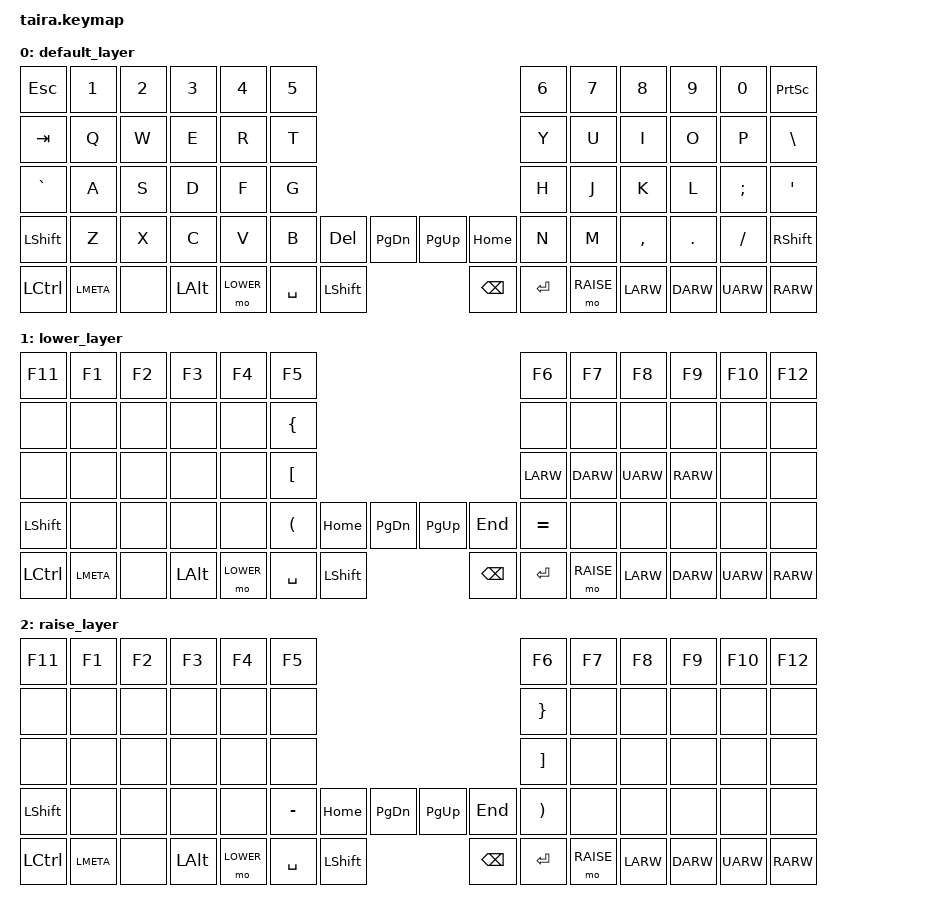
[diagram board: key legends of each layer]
/*
 * Copyright (c) 2020 The ZMK Contributors
 *
 * SPDX-License-Identifier: MIT
 */

#include <behaviors.dtsi>
#include <dt-bindings/zmk/keys.h>
#include <dt-bindings/zmk/outputs.h>
#include <dt-bindings/zmk/bt.h>

#define DEFAULT 0
#define LOWER   1
#define RAISE   2


/ {
        keymap {
                compatible = "zmk,keymap";

                default_layer {
/* QWERTY
 * .-------------------------------------------------------------------------------------------------------------------------------------.
 * |  ESC |   1  |   2  |   3  |   4  |   5  |                                                 |   6  |   7  |   8  |   9  |   0  | PScr |
 * |------+------+------+------+------+------+-------------------------------------------------+------+-------------+------+------+------|
 * | Tab  |   Q  |   W  |   E  |   R  |   T  |                                                 |   Y  |   U  |   I  |   O  |   P  |  \   |
 * |------+------+------+------+------+------+-------------------------------------------------+------+------+------+------+------+------|
 * |   `  |   A  |   S  |   D  |   F  |   G  |                                                 |   H  |   J  |   K  |   L  |   ;  |  '   |
 * |------+------+------+------+------+------+-------+-------+-------+-+-------+-------+-------+------+------+------+------+------+------|
 * | Shift|   Z  |   X  |   C  |   V  |   B  |       |  DEL  | PG_DN | | PG_UP | HOME  |       |   N  |   M  |   ,  |   .  |   /  | Shift|
 * |-------------+------+------+------+------+-------+-------+-------+-+-------+-------+-------+------+------+------+------+------+------|
 * | Ctrl | Win  |*free*| Alt  |      |      | Lower | Space | Shift | |  Bksp | Enter | Raise |             | LARW | DARW | UARW | RARW |
 * .-------------------------------------------------------------------------------------------------------------------------------------.
 */
                        bindings = <
&kp  ESC      &kp  N1       &kp  N2       &kp  N3       &kp  N4       &kp  N5                                                                                                       &kp  N6       &kp  N7       &kp  N8       &kp  N9       &kp  N0       &kp  PSCRN
&kp  TAB      &kp  Q        &kp  W        &kp  E        &kp  R        &kp  T                                                                                                        &kp  Y        &kp  U        &kp  I        &kp  O        &kp  P        &kp  BSLH
&kp  GRAVE    &kp  A        &kp  S        &kp  D        &kp  F        &kp  G                                                                                                        &kp  H        &kp  J        &kp  K        &kp  L        &kp  SEMI     &kp  SQT
&kp  LSHFT    &kp  Z        &kp  X        &kp  C        &kp  V        &kp  B                          &kp  DEL     &kp  PG_DN       &kp  PG_UP &kp  HOME                            &kp  N        &kp  M        &kp  COMMA    &kp  DOT      &kp  SLASH    &kp  RSHFT
&kp  LCTRL    &kp  LMETA    &none         &kp  LALT                                     &mo  LOWER    &kp  SPACE   &kp  LSHFT       &kp  BSPC  &kp  RET   &mo  RAISE                                            &kp  LARW     &kp  DARW     &kp  UARW     &kp  RARW
                        >;
                };
                lower_layer {
/* .-------------------------------------------------------------------------------------------------------------------------------------.
 * |  F11 |  F1  |  F2  |  F3  |  F4  |  F5  |                                                 |  F6  |  F7  |  F8  |  F9  |  F10 |  F12 |
 * |------+------+------+------+------+------+-------------------------------------------------+------+-------------+------+------+------|
 * |      |      |      |      |      |   {  |                                                 |      |      |      |      |      |      |
 * |------+------+------+------+------+------+-------------------------------------------------+------+------+------+------+------+------|
 * |      |      |      |      |      |   [  |                                                 | LARW | DARW | UARW | RARW |      |      |
 * |------+------+------+------+------+------+-------+-------+-------+-+-------+-------+-------+------+-------------+------+------+------|
 * | Shift|      |      |      |      |   (  |       |  HOME | PG_DN | | PG_UP |  END  |       |   =  |      |      |      |      |      |
 * |-------------+------+------+------+------+-------+-------+-------+-+-------+-------+-------+------+------+------+------+------+------|
 * | Ctrl | Win  |      | Alt  |      |      | Lower | Space | Shift | |  Bksp | Enter | Raise |             | LARW | DARW | UARW | RARW |
 * .-------------------------------------------------------------------------------------------------------------------------------------.
 */ /* FIXME boot and reset are not yet locale aware */
                        bindings = <
&kp  F11      &kp  F1       &kp  F2       &kp  F3       &kp  F4       &kp  F5                                                                                                       &kp  F6       &kp  F7       &kp  F8       &kp  F9       &kp  F10      &kp  F12
&none         &none         &none         &none         &none         &kp  LBRC                                                                                                     &none         &none         &none         &none         &none         &none
&none         &none         &none         &none         &none         &kp  LBKT                                                                                                     &kp  LARW     &kp  DARW     &kp  UARW     &kp  RARW     &none         &none    
&kp  LSHFT    &none         &none         &none         &none         &kp  LPAR                  &kp  HOME    &kp  PG_DN       &kp  PG_UP &kp  END                                  &kp  EQUAL    &none         &none         &none         &none         &none         
&kp  LCTRL    &kp  LMETA    &none         &kp  LALT                                &mo  LOWER    &kp  SPACE   &kp  LSHFT       &kp  BSPC  &kp  RET   &mo  RAISE                                                 &kp  LARW     &kp  DARW     &kp  UARW     &kp  RARW
                        >;
                };
                raise_layer {
/* .-------------------------------------------------------------------------------------------------------------------------------------.
 * |  F11 |  F1  |  F2  |  F3  |  F4  |  F5  |                                                 |  F6  |  F7  |  F8  |  F9  |  F10 |  F12 |
 * |------+------+------+------+------+------+-------------------------------------------------+------+-------------+------+------+------|
 * |      |      |      |      |      |      |                                                 |   }  |      |      |      |      |      |
 * |------+------+------+------+------+------+-------------------------------------------------+------+------+------+------+------+------|
 * |      |      |      |      |      |      |                                                 |   ]  |      |      |      |      |      |
 * |------+------+------+------+------+------+-------+-------+-------+-+-------+-------+-------+------+-------------+------+------+------|
 * | Shift|      |      |      |      |   -  |       |  HOME | PG_DN | | PG_UP |  END  |       |   )  |      |      |      |      |      |
 * |-------------+------+------+------+------+-------+-------+-------+-+-------+-------+-------+------+------+------+------+------+------|
 * | Ctrl | Win  |      | Alt  |      |      | Lower | Space | Shift | |  Bksp | Enter | Raise |             | LARW | DARW | UARW | RARW |
 * .-------------------------------------------------------------------------------------------------------------------------------------.
 */ /* FIXME boot and reset are not yet locale aware */
                        bindings = <
&kp  F11      &kp  F1       &kp  F2       &kp  F3       &kp  F4       &kp  F5                                                                                                       &kp  F6       &kp  F7       &kp  F8       &kp  F9       &kp  F10      &kp  F12
&none         &none         &none         &none         &none         &none                                                                                                         &kp  RBRC     &none         &none         &none         &none         &none
&none         &none         &none         &none         &none         &none                                                                                                         &kp  RBKT     &none         &none         &none         &none         &none 
&kp  LSHFT    &none         &none         &none         &none         &kp MINUS                  &kp  HOME    &kp  PG_DN       &kp  PG_UP &kp  END                                  &kp  RPAR     &none         &none         &none         &none         &none         
&kp  LCTRL    &kp  LMETA    &none         &kp  LALT                                &mo  LOWER    &kp  SPACE   &kp  LSHFT       &kp  BSPC  &kp  RET   &mo  RAISE                                                 &kp  LARW     &kp  DARW     &kp  UARW     &kp  RARW
                        >;
                };
        };
};
